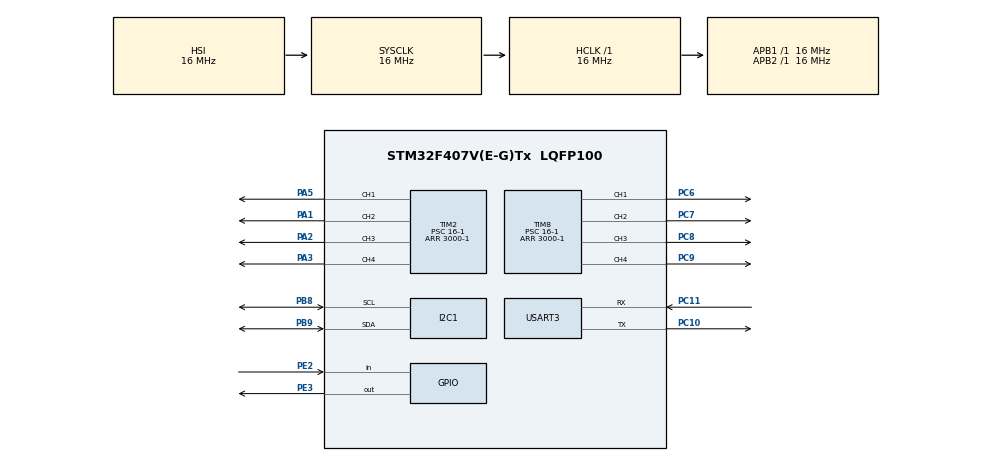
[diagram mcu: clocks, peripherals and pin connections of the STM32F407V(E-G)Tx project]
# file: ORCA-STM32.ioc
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Dma.Request0=USART3_RX
Dma.Request1=USART3_TX
Dma.USART3_RX.0.Direction=DMA_PERIPH_TO_MEMORY
Dma.USART3_RX.0.FIFOMode=DMA_FIFOMODE_DISABLE
Dma.USART3_RX.0.Instance=DMA1_Stream1
Dma.USART3_RX.0.MemDataAlignment=DMA_MDATAALIGN_BYTE
Dma.USART3_RX.0.MemInc=DMA_MINC_ENABLE
Dma.USART3_RX.0.Mode=DMA_CIRCULAR
Dma.USART3_RX.0.PeriphDataAlignment=DMA_PDATAALIGN_BYTE
Dma.USART3_RX.0.PeriphInc=DMA_PINC_DISABLE
Dma.USART3_RX.0.Priority=DMA_PRIORITY_VERY_HIGH
Dma.USART3_TX.1.Direction=DMA_MEMORY_TO_PERIPH
Dma.USART3_TX.1.FIFOMode=DMA_FIFOMODE_DISABLE
Dma.USART3_TX.1.Instance=DMA1_Stream3
Dma.USART3_TX.1.MemDataAlignment=DMA_MDATAALIGN_BYTE
Dma.USART3_TX.1.MemInc=DMA_MINC_ENABLE
Dma.USART3_TX.1.Mode=DMA_NORMAL
Dma.USART3_TX.1.PeriphDataAlignment=DMA_PDATAALIGN_BYTE
Dma.USART3_TX.1.PeriphInc=DMA_PINC_DISABLE
Dma.USART3_TX.1.Priority=DMA_PRIORITY_VERY_HIGH
FREERTOS.Queues01=pressureSensorDepthQueue,10,float,0,Dynamic,NULL,NULL
FREERTOS.Tasks01=defaultTask,24,3000,StartDefaultTask,Default,NULL,Dynamic,NULL,NULL;pressureSensorTask,8,256,StartPressureSensorTask,Default,NULL,Dynamic,NULL,NULL
FREERTOS.configMAX_TASK_NAME_LEN=20
FREERTOS.configTOTAL_HEAP_SIZE=32768
Mcu.Family=STM32F4
Mcu.Name=STM32F407V(E-G)Tx
Mcu.Package=LQFP100
NVIC.DMA1_Stream1_IRQn=true\:5\:0\:false\:false\:true\:true\:false\:true\:true
NVIC.DMA1_Stream3_IRQn=true\:5\:0\:false\:false\:true\:true\:false\:true\:true
NVIC.PriorityGroup=NVIC_PRIORITYGROUP_4
NVIC.TIM1_UP_TIM10_IRQn=true\:15\:0\:false\:false\:true\:false\:false\:true\:true
NVIC.TimeBase=TIM1_UP_TIM10_IRQn
NVIC.TimeBaseIP=TIM1
NVIC.USART3_IRQn=true\:5\:0\:false\:false\:true\:true\:true\:true\:true
PA1.Signal=S_TIM2_CH2
PA2.Signal=S_TIM2_CH3
PA3.Signal=S_TIM2_CH4
PA5.Signal=S_TIM2_CH1_ETR
PB8.Mode=I2C
PB8.Signal=I2C1_SCL
PB9.Mode=I2C
PB9.Signal=I2C1_SDA
PC10.Mode=Asynchronous
PC10.Signal=USART3_TX
PC11.Mode=Asynchronous
PC11.Signal=USART3_RX
PC6.Signal=S_TIM8_CH1
PC7.Signal=S_TIM8_CH2
PC8.Signal=S_TIM8_CH3
PC9.Signal=S_TIM8_CH4
PE2.GPIO_PuPd=GPIO_PULLDOWN
PE2.Signal=GPIO_Input
PE3.Signal=GPIO_Output
PH0-OSC_IN.Mode=HSE-External-Oscillator
PH0-OSC_IN.Signal=RCC_OSC_IN
PH1-OSC_OUT.Mode=HSE-External-Oscillator
PH1-OSC_OUT.Signal=RCC_OSC_OUT
ProjectManager.HeapSize=0x200
ProjectManager.StackSize=0x400
ProjectManager.TargetToolchain=Makefile
RCC.AHBFreq_Value=16000000
RCC.APB1Freq_Value=16000000
RCC.APB2Freq_Value=16000000
RCC.CortexFreq_Value=16000000
RCC.HSE_VALUE=25000000
RCC.HSI_VALUE=16000000
RCC.LSE_VALUE=32768
RCC.SYSCLKFreq_VALUE=16000000
RCC.VCOOutputFreq_Value=192000000
SH.S_TIM2_CH1_ETR.0=TIM2_CH1,PWM Generation1 CH1
SH.S_TIM2_CH2.0=TIM2_CH2,PWM Generation2 CH2
SH.S_TIM2_CH3.0=TIM2_CH3,PWM Generation3 CH3
SH.S_TIM2_CH4.0=TIM2_CH4,PWM Generation4 CH4
SH.S_TIM8_CH1.0=TIM8_CH1,PWM Generation1 CH1
SH.S_TIM8_CH2.0=TIM8_CH2,PWM Generation2 CH2
SH.S_TIM8_CH3.0=TIM8_CH3,PWM Generation3 CH3
SH.S_TIM8_CH4.0=TIM8_CH4,PWM Generation4 CH4
TIM2.Channel-PWM\ Generation1\ CH1=TIM_CHANNEL_1
TIM2.Channel-PWM\ Generation2\ CH2=TIM_CHANNEL_2
TIM2.Channel-PWM\ Generation3\ CH3=TIM_CHANNEL_3
TIM2.Channel-PWM\ Generation4\ CH4=TIM_CHANNEL_4
TIM2.OCPolarity_1=TIM_OCPOLARITY_LOW
TIM2.OCPolarity_4=TIM_OCPOLARITY_LOW
TIM2.Period=3000-1
TIM2.Prescaler=16-1
TIM8.Channel-PWM\ Generation1\ CH1=TIM_CHANNEL_1
TIM8.Channel-PWM\ Generation2\ CH2=TIM_CHANNEL_2
TIM8.Channel-PWM\ Generation3\ CH3=TIM_CHANNEL_3
TIM8.Channel-PWM\ Generation4\ CH4=TIM_CHANNEL_4
TIM8.OCPolarity_1=TIM_OCPOLARITY_LOW
TIM8.OCPolarity_4=TIM_OCPOLARITY_LOW
TIM8.Period=3000-1
TIM8.Prescaler=16-1
USART3.VirtualMode=VM_ASYNC
VP_FREERTOS_VS_CMSIS_V2.Mode=CMSIS_V2
VP_SYS_VS_tim1.Mode=TIM1
VP_TIM2_VS_ClockSourceINT.Mode=Internal
VP_TIM8_VS_ClockSourceINT.Mode=Internal
board=custom

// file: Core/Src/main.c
/* USER CODE BEGIN Header */
/**
  ******************************************************************************
  * @file           : main.c
  * @brief          : Main program body
  ******************************************************************************
  * @attention
  *
  * Copyright (c) 2024 STMicroelectronics.
  * All rights reserved.
  *
  * This software is licensed under terms that can be found in the LICENSE file
  * in the root directory of this software component.
  * If no LICENSE file comes with this software, it is provided AS-IS.
  *
  ******************************************************************************
  */
/* USER CODE END Header */
#include "main.h"
#include "cmsis_os.h"

/* USER CODE BEGIN Includes */
#include "micro_ros_configuration.h"
#include "thruster_pwm_driver.h"
#include "thruster_pwm_controller/thruster_pwm_controller.h"
#include "kill_switch_driver.h"
#include "kill_switch_node.h"
#include "MS5837.h"
#include "pressure_sensor_node.h"
#include "electromagnet_controller.h"
#include "debug_logger.h"

#include <rclc/rclc.h>
#include <rclc/executor.h>
#include <std_msgs/msg/string.h>
#include <stdio.h>
/* USER CODE END Includes */

I2C_HandleTypeDef hi2c1;

TIM_HandleTypeDef htim2;
TIM_HandleTypeDef htim8;

UART_HandleTypeDef huart3;
DMA_HandleTypeDef hdma_usart3_rx;
DMA_HandleTypeDef hdma_usart3_tx;

/* Definitions for defaultTask */
osThreadId_t defaultTaskHandle;
const osThreadAttr_t defaultTask_attributes = {
  .name = "defaultTask",
  .stack_size = 3000 * 4,
  .priority = (osPriority_t) osPriorityNormal,
};
/* Definitions for pressureSensorTask */
osThreadId_t pressureSensorTaskHandle;
const osThreadAttr_t pressureSensorTask_attributes = {
  .name = "pressureSensorTask",
  .stack_size = 256 * 4,
  .priority = (osPriority_t) osPriorityLow,
};
/* Definitions for pressureSensorDepthQueue */
osMessageQueueId_t pressureSensorDepthQueueHandle;
const osMessageQueueAttr_t pressureSensorDepthQueue_attributes = {
  .name = "pressureSensorDepthQueue"
};

void SystemClock_Config(void);
static void MX_GPIO_Init(void);
static void MX_DMA_Init(void);
static void MX_TIM2_Init(void);
static void MX_TIM8_Init(void);
static void MX_USART3_UART_Init(void);
static void MX_I2C1_Init(void);
void StartDefaultTask(void *argument);
void StartPressureSensorTask(void *argument);

/* USER CODE BEGIN PFP */
static void stm32_timer_callback(rcl_timer_t *timer, int64_t last_call_time);

/* USER CODE END PFP */

int main(void)
{

  /* MCU Configuration--------------------------------------------------------*/

  /* Reset of all peripherals, Initializes the Flash interface and the Systick. */
  HAL_Init();

  /* Configure the system clock */
  SystemClock_Config();

  /* Initialize all configured peripherals */
  MX_GPIO_Init();
  MX_DMA_Init();
  MX_TIM2_Init();
  MX_TIM8_Init();
  MX_USART3_UART_Init();
  MX_I2C1_Init();

  /* Init scheduler */
  osKernelInitialize();

  /* Create the queue(s) */
  /* creation of pressureSensorDepthQueue */
  pressureSensorDepthQueueHandle = osMessageQueueNew (10, sizeof(float), &pressureSensorDepthQueue_attributes);

  /* Create the thread(s) */
  /* creation of defaultTask */
  defaultTaskHandle = osThreadNew(StartDefaultTask, NULL, &defaultTask_attributes);

  /* creation of pressureSensorTask */
  pressureSensorTaskHandle = osThreadNew(StartPressureSensorTask, NULL, &pressureSensorTask_attributes);

  /* Start scheduler */
  osKernelStart();

  /* We should never get here as control is now taken by the scheduler */

  /* Infinite loop */
  while (1)
  {

  }
}

void SystemClock_Config(void)
{
  RCC_OscInitTypeDef RCC_OscInitStruct = {0};
  RCC_ClkInitTypeDef RCC_ClkInitStruct = {0};

  /** Configure the main internal regulator output voltage
  */
  __HAL_RCC_PWR_CLK_ENABLE();
  __HAL_PWR_VOLTAGESCALING_CONFIG(PWR_REGULATOR_VOLTAGE_SCALE1);

  /** Initializes the RCC Oscillators according to the specified parameters
  * in the RCC_OscInitTypeDef structure.
  */
  RCC_OscInitStruct.OscillatorType = RCC_OSCILLATORTYPE_HSI;
  RCC_OscInitStruct.HSIState = RCC_HSI_ON;
  RCC_OscInitStruct.HSICalibrationValue = RCC_HSICALIBRATION_DEFAULT;
  RCC_OscInitStruct.PLL.PLLState = RCC_PLL_NONE;
  if (HAL_RCC_OscConfig(&RCC_OscInitStruct) != HAL_OK)
  {
    Error_Handler();
  }

  /** Initializes the CPU, AHB and APB buses clocks
  */
  RCC_ClkInitStruct.ClockType = RCC_CLOCKTYPE_HCLK|RCC_CLOCKTYPE_SYSCLK
                              |RCC_CLOCKTYPE_PCLK1|RCC_CLOCKTYPE_PCLK2;
  RCC_ClkInitStruct.SYSCLKSource = RCC_SYSCLKSOURCE_HSI;
  RCC_ClkInitStruct.AHBCLKDivider = RCC_SYSCLK_DIV1;
  RCC_ClkInitStruct.APB1CLKDivider = RCC_HCLK_DIV1;
  RCC_ClkInitStruct.APB2CLKDivider = RCC_HCLK_DIV1;

  if (HAL_RCC_ClockConfig(&RCC_ClkInitStruct, FLASH_LATENCY_0) != HAL_OK)
  {
    Error_Handler();
  }
}

static void MX_I2C1_Init(void)
{

  hi2c1.Instance = I2C1;
  hi2c1.Init.ClockSpeed = 100000;
  hi2c1.Init.DutyCycle = I2C_DUTYCYCLE_2;
  hi2c1.Init.OwnAddress1 = 0;
  hi2c1.Init.AddressingMode = I2C_ADDRESSINGMODE_7BIT;
  hi2c1.Init.DualAddressMode = I2C_DUALADDRESS_DISABLE;
  hi2c1.Init.OwnAddress2 = 0;
  hi2c1.Init.GeneralCallMode = I2C_GENERALCALL_DISABLE;
  hi2c1.Init.NoStretchMode = I2C_NOSTRETCH_DISABLE;
  if (HAL_I2C_Init(&hi2c1) != HAL_OK)
  {
    Error_Handler();
  }

}

static void MX_TIM2_Init(void)
{

  TIM_ClockConfigTypeDef sClockSourceConfig = {0};
  TIM_MasterConfigTypeDef sMasterConfig = {0};
  TIM_OC_InitTypeDef sConfigOC = {0};

  htim2.Instance = TIM2;
  htim2.Init.Prescaler = 16-1;
  htim2.Init.CounterMode = TIM_COUNTERMODE_UP;
  htim2.Init.Period = 3000-1;
  htim2.Init.ClockDivision = TIM_CLOCKDIVISION_DIV1;
  htim2.Init.AutoReloadPreload = TIM_AUTORELOAD_PRELOAD_DISABLE;
  if (HAL_TIM_Base_Init(&htim2) != HAL_OK)
  {
    Error_Handler();
  }
  sClockSourceConfig.ClockSource = TIM_CLOCKSOURCE_INTERNAL;
  if (HAL_TIM_ConfigClockSource(&htim2, &sClockSourceConfig) != HAL_OK)
  {
    Error_Handler();
  }
  if (HAL_TIM_PWM_Init(&htim2) != HAL_OK)
  {
    Error_Handler();
  }
  sMasterConfig.MasterOutputTrigger = TIM_TRGO_RESET;
  sMasterConfig.MasterSlaveMode = TIM_MASTERSLAVEMODE_DISABLE;
  if (HAL_TIMEx_MasterConfigSynchronization(&htim2, &sMasterConfig) != HAL_OK)
  {
    Error_Handler();
  }
  sConfigOC.OCMode = TIM_OCMODE_PWM1;
  sConfigOC.Pulse = 0;
  sConfigOC.OCPolarity = TIM_OCPOLARITY_LOW;
  sConfigOC.OCFastMode = TIM_OCFAST_DISABLE;
  if (HAL_TIM_PWM_ConfigChannel(&htim2, &sConfigOC, TIM_CHANNEL_1) != HAL_OK)
  {
    Error_Handler();
  }
  sConfigOC.OCPolarity = TIM_OCPOLARITY_HIGH;
  if (HAL_TIM_PWM_ConfigChannel(&htim2, &sConfigOC, TIM_CHANNEL_2) != HAL_OK)
  {
    Error_Handler();
  }
  if (HAL_TIM_PWM_ConfigChannel(&htim2, &sConfigOC, TIM_CHANNEL_3) != HAL_OK)
  {
    Error_Handler();
  }
  sConfigOC.OCPolarity = TIM_OCPOLARITY_LOW;
  if (HAL_TIM_PWM_ConfigChannel(&htim2, &sConfigOC, TIM_CHANNEL_4) != HAL_OK)
  {
    Error_Handler();
  }
  HAL_TIM_MspPostInit(&htim2);

}

static void MX_TIM8_Init(void)
{

  TIM_ClockConfigTypeDef sClockSourceConfig = {0};
  TIM_MasterConfigTypeDef sMasterConfig = {0};
  TIM_OC_InitTypeDef sConfigOC = {0};
  TIM_BreakDeadTimeConfigTypeDef sBreakDeadTimeConfig = {0};

  htim8.Instance = TIM8;
  htim8.Init.Prescaler = 16-1;
  htim8.Init.CounterMode = TIM_COUNTERMODE_UP;
  htim8.Init.Period = 3000-1;
  htim8.Init.ClockDivision = TIM_CLOCKDIVISION_DIV1;
  htim8.Init.RepetitionCounter = 0;
  htim8.Init.AutoReloadPreload = TIM_AUTORELOAD_PRELOAD_DISABLE;
  if (HAL_TIM_Base_Init(&htim8) != HAL_OK)
  {
    Error_Handler();
  }
  sClockSourceConfig.ClockSource = TIM_CLOCKSOURCE_INTERNAL;
  if (HAL_TIM_ConfigClockSource(&htim8, &sClockSourceConfig) != HAL_OK)
  {
    Error_Handler();
  }
  if (HAL_TIM_PWM_Init(&htim8) != HAL_OK)
  {
    Error_Handler();
  }
  sMasterConfig.MasterOutputTrigger = TIM_TRGO_RESET;
  sMasterConfig.MasterSlaveMode = TIM_MASTERSLAVEMODE_DISABLE;
  if (HAL_TIMEx_MasterConfigSynchronization(&htim8, &sMasterConfig) != HAL_OK)
  {
    Error_Handler();
  }
  sConfigOC.OCMode = TIM_OCMODE_PWM1;
  sConfigOC.Pulse = 0;
  sConfigOC.OCPolarity = TIM_OCPOLARITY_LOW;
  sConfigOC.OCNPolarity = TIM_OCNPOLARITY_HIGH;
  sConfigOC.OCFastMode = TIM_OCFAST_DISABLE;
  sConfigOC.OCIdleState = TIM_OCIDLESTATE_RESET;
  sConfigOC.OCNIdleState = TIM_OCNIDLESTATE_RESET;
  if (HAL_TIM_PWM_ConfigChannel(&htim8, &sConfigOC, TIM_CHANNEL_1) != HAL_OK)
  {
    Error_Handler();
  }
  sConfigOC.OCPolarity = TIM_OCPOLARITY_HIGH;
  if (HAL_TIM_PWM_ConfigChannel(&htim8, &sConfigOC, TIM_CHANNEL_2) != HAL_OK)
  {
    Error_Handler();
  }
  if (HAL_TIM_PWM_ConfigChannel(&htim8, &sConfigOC, TIM_CHANNEL_3) != HAL_OK)
  {
    Error_Handler();
  }
  sConfigOC.OCPolarity = TIM_OCPOLARITY_LOW;
  if (HAL_TIM_PWM_ConfigChannel(&htim8, &sConfigOC, TIM_CHANNEL_4) != HAL_OK)
  {
    Error_Handler();
  }
  sBreakDeadTimeConfig.OffStateRunMode = TIM_OSSR_DISABLE;
  sBreakDeadTimeConfig.OffStateIDLEMode = TIM_OSSI_DISABLE;
  sBreakDeadTimeConfig.LockLevel = TIM_LOCKLEVEL_OFF;
  sBreakDeadTimeConfig.DeadTime = 0;
  sBreakDeadTimeConfig.BreakState = TIM_BREAK_DISABLE;
  sBreakDeadTimeConfig.BreakPolarity = TIM_BREAKPOLARITY_HIGH;
  sBreakDeadTimeConfig.AutomaticOutput = TIM_AUTOMATICOUTPUT_DISABLE;
  if (HAL_TIMEx_ConfigBreakDeadTime(&htim8, &sBreakDeadTimeConfig) != HAL_OK)
  {
    Error_Handler();
  }
  HAL_TIM_MspPostInit(&htim8);

}

static void MX_USART3_UART_Init(void)
{

  huart3.Instance = USART3;
  huart3.Init.BaudRate = 115200;
  huart3.Init.WordLength = UART_WORDLENGTH_8B;
  huart3.Init.StopBits = UART_STOPBITS_1;
  huart3.Init.Parity = UART_PARITY_NONE;
  huart3.Init.Mode = UART_MODE_TX_RX;
  huart3.Init.HwFlowCtl = UART_HWCONTROL_NONE;
  huart3.Init.OverSampling = UART_OVERSAMPLING_16;
  if (HAL_UART_Init(&huart3) != HAL_OK)
  {
    Error_Handler();
  }

}

static void MX_DMA_Init(void)
{

  /* DMA controller clock enable */
  __HAL_RCC_DMA1_CLK_ENABLE();

  /* DMA interrupt init */
  /* DMA1_Stream1_IRQn interrupt configuration */
  HAL_NVIC_SetPriority(DMA1_Stream1_IRQn, 5, 0);
  HAL_NVIC_EnableIRQ(DMA1_Stream1_IRQn);
  /* DMA1_Stream3_IRQn interrupt configuration */
  HAL_NVIC_SetPriority(DMA1_Stream3_IRQn, 5, 0);
  HAL_NVIC_EnableIRQ(DMA1_Stream3_IRQn);

}

static void MX_GPIO_Init(void)
{
  GPIO_InitTypeDef GPIO_InitStruct = {0};

  /* GPIO Ports Clock Enable */
  __HAL_RCC_GPIOE_CLK_ENABLE();
  __HAL_RCC_GPIOH_CLK_ENABLE();
  __HAL_RCC_GPIOA_CLK_ENABLE();
  __HAL_RCC_GPIOC_CLK_ENABLE();
  __HAL_RCC_GPIOB_CLK_ENABLE();

  /*Configure GPIO pin Output Level */
  HAL_GPIO_WritePin(GPIOE, GPIO_PIN_3, GPIO_PIN_RESET);

  /*Configure GPIO pin : PE2 */
  GPIO_InitStruct.Pin = GPIO_PIN_2;
  GPIO_InitStruct.Mode = GPIO_MODE_INPUT;
  GPIO_InitStruct.Pull = GPIO_PULLDOWN;
  HAL_GPIO_Init(GPIOE, &GPIO_InitStruct);

  /*Configure GPIO pin : PE3 */
  GPIO_InitStruct.Pin = GPIO_PIN_3;
  GPIO_InitStruct.Mode = GPIO_MODE_OUTPUT_PP;
  GPIO_InitStruct.Pull = GPIO_NOPULL;
  GPIO_InitStruct.Speed = GPIO_SPEED_FREQ_LOW;
  HAL_GPIO_Init(GPIOE, &GPIO_InitStruct);

}

/* USER CODE BEGIN 4 */
static void stm32_timer_callback(rcl_timer_t *timer, int64_t last_call_time)
{
  (void)timer;
  (void)last_call_time;
  kill_switch_on_timer_tick();
  thruster_pwm_controller_on_timer_tick();
  pressure_sensor_on_timer_tick();
}
/* USER CODE END 4 */

void StartDefaultTask(void *argument)
{
  /* USER CODE BEGIN 5 */

  initialize_all_thrusters(
    &htim2, TIM_CHANNEL_1,
    &htim2, TIM_CHANNEL_2,
    &htim2, TIM_CHANNEL_3,
    &htim2, TIM_CHANNEL_4,
    &htim8, TIM_CHANNEL_1,
    &htim8, TIM_CHANNEL_2,
    &htim8, TIM_CHANNEL_3,
    &htim8, TIM_CHANNEL_4
  );

  configure_micro_ros(&huart3);

  // micro-ROS app
  rcl_allocator_t allocator = rcl_get_default_allocator();

  //create init_options
  rclc_support_t support;
  rcl_ret_t rc = rclc_support_init(&support, 0, NULL, &allocator);
  if (rc != RCL_RET_OK) {
    printf("rclc_support_init failed: %d\n", (int)rc);
    while (1) {
      osDelay(1000);
    }
  }

  rcl_node_t stm32_node = rcl_get_zero_initialized_node();
  rc = rclc_node_init_default(&stm32_node, "stm32_node", "orca_auv", &support);
  if (rc != RCL_RET_OK) {
    printf("stm32_node init failed: %d\n", (int)rc);
    while (1) {
      osDelay(1000);
    }
  }

  rcl_publisher_t debug_log_publisher = rcl_get_zero_initialized_publisher();
  rc = rclc_publisher_init_default(
      &debug_log_publisher,
      &stm32_node,
      ROSIDL_GET_MSG_TYPE_SUPPORT(std_msgs, msg, String),
      "diagnostics/stm32/log");
  if (rc != RCL_RET_OK) {
    printf("debug_log publisher init failed: %d\n", (int)rc);
  } else {
    debug_logger_set_publisher(&debug_log_publisher);
  }

  rclc_executor_t executor = rclc_executor_get_zero_initialized_executor();
  const unsigned int stm32_shared_timer_handles = 1;
  unsigned int num_handles = stm32_shared_timer_handles + KILL_SWITCH_NUM_HANDLES + THRUSTER_PWM_CONTROLLER_NUM_HANDLES + PRESSURE_SENSOR_NUM_HANDLES + ELECTROMAGNET_CONTROLLER_NUM_HANDLES;
  {
    char msg[96];
    int n = snprintf(msg, sizeof(msg),
                     "Debug: number of DDS handles: %u\n",
                     num_handles);
    if (n > 0) {
      (void)debug_logger_publish(msg);
    }
  }
  rc = rclc_executor_init(&executor, &support.context, num_handles, &allocator);
  if (rc != RCL_RET_OK) {
    char msg[96];
    int n = snprintf(msg, sizeof(msg),
                     "rclc_executor_init failed: %d\n",
                     (int)rc);
    if (n > 0) {
      (void)debug_logger_publish(msg);
    }
    while (1) {
      osDelay(1000);
    }
  }

  initialize_kill_switch_node(&support, &executor, &stm32_node);
  initialize_thruster_pwm_controller(&support, &executor, &stm32_node);
  initialize_pressure_sensor_node(&support, &executor, &stm32_node, pressureSensorDepthQueueHandle);
  initialize_electromagnet_controller(&support, &executor, &stm32_node);

  rcl_timer_t stm32_timer = rcl_get_zero_initialized_timer();
  const unsigned int stm32_timer_timeout_ms = 50;
  rc = rclc_timer_init_default(
      &stm32_timer,
      &support,
      RCL_MS_TO_NS(stm32_timer_timeout_ms),
      stm32_timer_callback);
  if (rc != RCL_RET_OK) {
    char msg[96];
    int n = snprintf(msg, sizeof(msg),
                     "stm32_timer init failed: %d\n",
                     (int)rc);
    if (n > 0) {
      (void)debug_logger_publish(msg);
    }
    while (1) {
      osDelay(1000);
    }
  }

  rc = rclc_executor_add_timer(&executor, &stm32_timer);
  if (rc != RCL_RET_OK) {
    char msg[96];
    int n = snprintf(msg, sizeof(msg),
                     "stm32_timer add failed: %d\n",
                     (int)rc);
    if (n > 0) {
      (void)debug_logger_publish(msg);
    }
    while (1) {
      osDelay(1000);
    }
  }

  const uint32_t debug_period_ticks = osKernelGetTickFreq() * 2U;
  uint32_t last_debug_tick = osKernelGetTickCount();

  /* Infinite loop */
  for(;;)
  {
    if(kill_switch_closed())
    {
      stop_all_thrusters_pwm_output();
    }

    uint32_t now_tick = osKernelGetTickCount();
    if ((uint32_t)(now_tick - last_debug_tick) >= debug_period_ticks) {
      last_debug_tick = now_tick;
      char alive_msg[64];
      int n = snprintf(alive_msg, sizeof(alive_msg),
                       "Main loop alive (tick %lu)\n",
                       (unsigned long)now_tick);
      if (n > 0) {
        (void)debug_logger_publish(alive_msg);
      }
    }

    rclc_executor_spin_some(&executor, RCL_MS_TO_NS(100));

    osDelay(1);
  }
  /* USER CODE END 5 */
}

void StartPressureSensorTask(void *argument)
{
  /* USER CODE BEGIN StartPressureSensorTask */
  MS5837_MS5837();

  const uint32_t max_init_attempts = 5;
  while (1) {
    uint32_t init_attempt = 0;
    while (!MS5837_init(&hi2c1) && init_attempt < max_init_attempts) {
      init_attempt++;
      char msg[96];
      int n = snprintf(msg, sizeof(msg),
                       "MS5837 init failed (attempt %lu)\n",
                       (unsigned long)init_attempt);
      if (n > 0) {
        (void)debug_logger_publish(msg);
      }
      osDelay(init_attempt < 5 ? 1000 : 5000);
    }
    if (init_attempt < max_init_attempts) {
      break;
    }

    {
      char msg[112];
      int n = snprintf(msg, sizeof(msg),
                       "MS5837 failed to init after %lu attempts; retrying in 10s\n",
                       (unsigned long)max_init_attempts);
      if (n > 0) {
        (void)debug_logger_publish(msg);
      }
    }
    osDelay(10000);
  }

  MS5837_setFluidDensity(997);

  uint32_t consecutive_pressure_read_failures = 0;
  const uint32_t pressure_read_reinit_threshold = 3;

  /* Infinite loop */
  for(;;)
  {
    if (!MS5837_read()) {
      consecutive_pressure_read_failures++;
      if (consecutive_pressure_read_failures >= pressure_read_reinit_threshold) {
        (void)debug_logger_publish("MS5837 read failed repeatedly; reinitializing sensor\n");
        (void)MS5837_init(&hi2c1);
        consecutive_pressure_read_failures = 0;
      } else {
        (void)debug_logger_publish("MS5837 read failed; skipping publish\n");
      }
      osDelay(50);
      continue;
    }

    consecutive_pressure_read_failures = 0;

    (void)MS5837_pressure_default();
    (void)MS5837_temperature();
    float pressure_sensor_depth_reading = MS5837_depth();
    (void)MS5837_altitude();

    osStatus_t queue_status = osMessageQueuePut(pressureSensorDepthQueueHandle, &pressure_sensor_depth_reading, 0U, 0U);
    if (queue_status == osErrorResource) {
      // Queue full: drop oldest and enqueue latest to avoid stale data.
      float dropped_depth = 0.0f;
      osMessageQueueGet(pressureSensorDepthQueueHandle, &dropped_depth, NULL, 0U);
      queue_status = osMessageQueuePut(pressureSensorDepthQueueHandle, &pressure_sensor_depth_reading, 0U, 0U);
    }
    if (queue_status != osOK) {
      char msg[96];
      int n = snprintf(msg, sizeof(msg),
                       "pressureSensorDepthQueue put failed: %ld\n",
                       (long)queue_status);
      if (n > 0) {
        (void)debug_logger_publish(msg);
      }
    }

    osDelay(10);
  }
  /* USER CODE END StartPressureSensorTask */
}

void HAL_TIM_PeriodElapsedCallback(TIM_HandleTypeDef *htim)
{
  if (htim->Instance == TIM1) {
    HAL_IncTick();
  }
}

void Error_Handler(void)
{
  __disable_irq();
  while (1)
  {
  }
}
